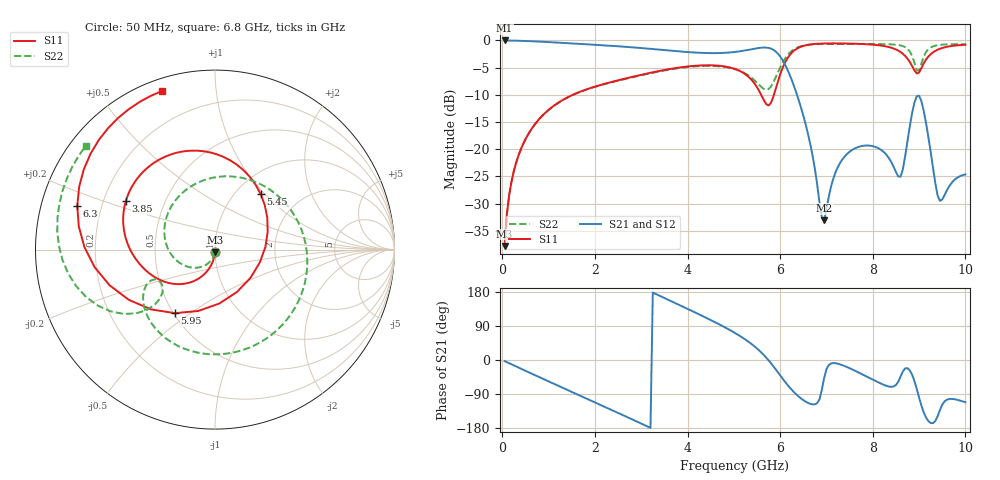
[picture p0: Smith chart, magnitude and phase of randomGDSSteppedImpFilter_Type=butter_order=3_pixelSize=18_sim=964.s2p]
! freq	dB(S11)	phase(S11)	dB(S12)	phase(S12)
!  dB(S21)	phase(S21)	dB(S22)	phase(S22)
!S-par simulation data
#  GHz  S  DB  R 50
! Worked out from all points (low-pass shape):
!   200 points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, 50 MHz to 10 GHz, reference 50 ohm
!   highest |S21| = -0.01 dB at 50 MHz (marker M1); lowest = -33.0 dB at 6.95 GHz (marker M2)
!   |S21| within 3 dB of the highest: start of sweep to 6.005 GHz
!   lowest |S11| = -37.8 dB at 50 MHz (marker M3), VSWR 1.03, Z = 50 - j1.29 ohm
!   |S11| at or under -10 dB: start of sweep to 1.521 GHz; 5.59 GHz to 5.865 GHz (274.6 MHz wide, 4.8 % of centre)
!   |S22| runs from -37.8 to -0.6 dB; largest |S21 - S12| = 0
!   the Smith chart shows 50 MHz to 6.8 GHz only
!   S11 on the Smith chart (normalised r, x): 50 MHz: 1.00, -0.03; 3.85 GHz: 0.29, +0.24; 5.45 GHz: 1.29, +0.95; 5.95 GHz: 0.51, -0.44; 6.3 GHz: 0.11, +0.15; 6.8 GHz: 0.05, +0.72
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0.05  -37.79 -91.2  -0.01 -2.9  -0.01 -2.9  -37.80 -93.2
0.2  -25.88 -97.9  -0.03 -11.5  -0.03 -11.5  -25.91 -105.5
0.5  -18.16 -109.4  -0.11 -28.5  -0.11 -28.5  -18.19 -128.6
1.75  -9.20 -150.4  -0.68 -97.9  -0.68 -97.9  -9.24 133.4
2.55  -7.22 -171.1  -1.11 -142.3  -1.11 -142.3  -7.29 65.2
3.4  -5.59 166.0  -1.70 169.4  -1.70 169.4  -5.69 -8.0
3.85  -4.95 151.3  -2.04 143.6  -2.04 143.6  -5.05 -44.3
5.05  -5.32 92.8  -2.09 69.5  -2.09 69.5  -5.34 -131.1
5.45  -7.96 50.4  -1.51 35.6  -1.51 35.6  -7.37 -152.8
5.95  -7.56 -122.3  -2.42 -32.2  -2.42 -32.2  -5.89 -138.5
6.3  -1.88 162.4  -8.42 -85.0  -8.42 -85.0  -1.63 -170.8
6.7  -0.69 116.9  -21.16 -117.2  -21.16 -117.2  -0.73 149.9
6.8  -0.62 108.5  -26.47 -113.6  -26.47 -113.6  -0.69 141.2
6.95  -0.56 97.0  -33.04 -47.6  -33.04 -47.6  -0.66 128.7
7.45  -0.57 62.7  -20.81 -19.0  -20.81 -19.0  -0.65 90.1
8.35  -1.23 -13.3  -21.64 -70.1  -21.64 -70.1  -0.71 26.4
8.6  -2.14 -53.9  -25.02 -44.1  -25.02 -44.1  -0.94 7.8
8.75  -3.36 -91.3  -18.44 -21.6  -18.44 -21.6  -1.55 -5.2
8.95  -6.08 -152.0  -10.25 -76.1  -10.25 -76.1  -5.46 -10.1
9.1  -4.22 164.5  -12.93 -138.3  -12.93 -138.3  -2.97 7.3
9.4  -1.71 87.4  -28.48 -148.6  -28.48 -148.6  -0.88 -16.2
10  -0.80 21.0  -24.63 -111.4  -24.63 -111.4  -0.68 -47.5
